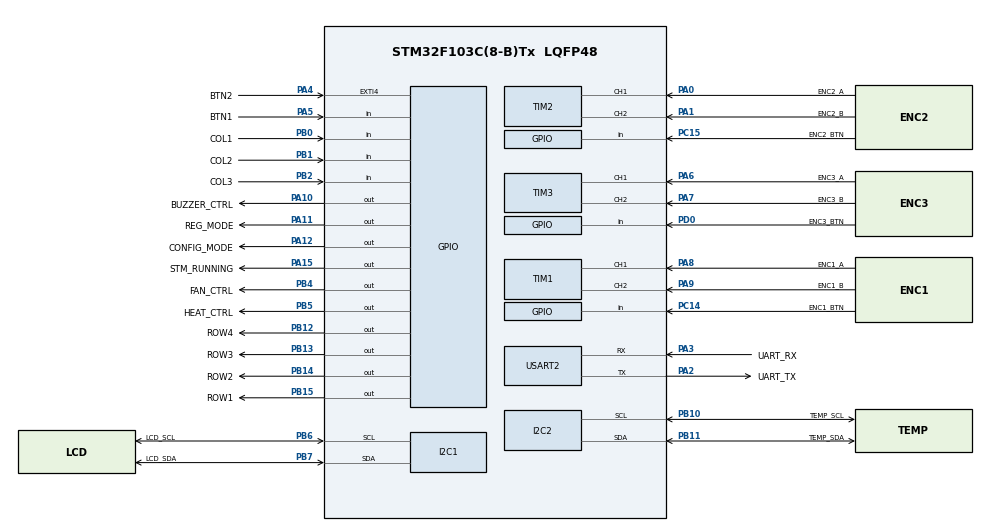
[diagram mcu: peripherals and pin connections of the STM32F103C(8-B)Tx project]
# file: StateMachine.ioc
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Mcu.Family=STM32F1
Mcu.Name=STM32F103C(8-B)Tx
Mcu.Package=LQFP48
NVIC.EXTI4_IRQn=true\:0\:0\:false\:false\:true\:true\:true\:true
NVIC.PriorityGroup=NVIC_PRIORITYGROUP_4
NVIC.USART2_IRQn=true\:0\:0\:false\:false\:true\:true\:true\:true
PA0-WKUP.GPIO_Label=ENC2_A
PA0-WKUP.Signal=S_TIM2_CH1_ETR
PA1.GPIO_Label=ENC2_B
PA1.Signal=S_TIM2_CH2
PA10.GPIO_Label=BUZZER_CTRL
PA10.GPIO_PuPd=GPIO_PULLDOWN
PA10.Signal=GPIO_Output
PA11.GPIO_Label=REG_MODE
PA11.GPIO_PuPd=GPIO_PULLDOWN
PA11.Signal=GPIO_Output
PA12.GPIO_Label=CONFIG_MODE
PA12.GPIO_PuPd=GPIO_PULLDOWN
PA12.Signal=GPIO_Output
PA13.GPIO_Label=SWDIO
PA13.Mode=Serial_Wire
PA13.Signal=SYS_JTMS-SWDIO
PA14.GPIO_Label=SWCLK
PA14.Mode=Serial_Wire
PA14.Signal=SYS_JTCK-SWCLK
PA15.GPIO_Label=STM_RUNNING
PA15.GPIO_PuPd=GPIO_PULLDOWN
PA15.Signal=GPIO_Output
PA2.GPIO_Label=UART_TX
PA2.Mode=Asynchronous
PA2.Signal=USART2_TX
PA3.GPIO_Label=UART_RX
PA3.Mode=Asynchronous
PA3.Signal=USART2_RX
PA4.GPIO_Label=BTN2
PA4.Signal=GPXTI4
PA5.GPIO_Label=BTN1
PA5.GPIO_PuPd=GPIO_PULLDOWN
PA5.Signal=GPIO_Input
PA6.GPIO_Label=ENC3_A
PA6.Signal=S_TIM3_CH1
PA7.GPIO_Label=ENC3_B
PA7.Signal=S_TIM3_CH2
PA8.GPIO_Label=ENC1_A
PA8.Signal=S_TIM1_CH1
PA9.GPIO_Label=ENC1_B
PA9.Signal=S_TIM1_CH2
PB0.GPIO_Label=COL1
PB0.GPIO_PuPd=GPIO_PULLUP
PB0.Signal=GPIO_Input
PB1.GPIO_Label=COL2
PB1.GPIO_PuPd=GPIO_PULLUP
PB1.Signal=GPIO_Input
PB10.GPIO_Label=TEMP_SCL
PB10.Mode=I2C
PB10.Signal=I2C2_SCL
PB11.GPIO_Label=TEMP_SDA
PB11.Mode=I2C
PB11.Signal=I2C2_SDA
PB12.GPIO_Label=ROW4
PB12.GPIO_PuPd=GPIO_PULLUP
PB12.Signal=GPIO_Output
PB13.GPIO_Label=ROW3
PB13.GPIO_PuPd=GPIO_PULLUP
PB13.Signal=GPIO_Output
PB14.GPIO_Label=ROW2
PB14.GPIO_PuPd=GPIO_PULLUP
PB14.Signal=GPIO_Output
PB15.GPIO_Label=ROW1
PB15.GPIO_PuPd=GPIO_PULLUP
PB15.Signal=GPIO_Output
PB2.GPIO_Label=COL3
PB2.GPIO_PuPd=GPIO_PULLUP
PB2.Signal=GPIO_Input
PB4.GPIO_Label=FAN_CTRL
PB4.GPIO_PuPd=GPIO_PULLDOWN
PB4.Signal=GPIO_Output
PB5.GPIO_Label=HEAT_CTRL
PB5.GPIO_PuPd=GPIO_PULLDOWN
PB5.Signal=GPIO_Output
PB6.GPIO_Label=LCD_SCL
PB6.Mode=I2C
PB6.Signal=I2C1_SCL
PB7.GPIO_Label=LCD_SDA
PB7.Mode=I2C
PB7.Signal=I2C1_SDA
PC14-OSC32_IN.GPIO_Label=ENC1_BTN
PC14-OSC32_IN.GPIO_PuPd=GPIO_PULLDOWN
PC14-OSC32_IN.Signal=GPIO_Input
PC15-OSC32_OUT.GPIO_Label=ENC2_BTN
PC15-OSC32_OUT.GPIO_PuPd=GPIO_PULLDOWN
PC15-OSC32_OUT.Signal=GPIO_Input
PD0-OSC_IN.GPIO_Label=ENC3_BTN
PD0-OSC_IN.GPIO_PuPd=GPIO_PULLDOWN
PD0-OSC_IN.Signal=GPIO_Input
ProjectManager.HeapSize=0x200
ProjectManager.StackSize=0x400
ProjectManager.TargetToolchain=STM32CubeIDE
RCC.APB1Freq_Value=8000000
RCC.APB2Freq_Value=8000000
SH.S_TIM1_CH1.0=TIM1_CH1,Encoder_Interface
SH.S_TIM1_CH2.0=TIM1_CH2,Encoder_Interface
SH.S_TIM2_CH1_ETR.0=TIM2_CH1,Encoder_Interface
SH.S_TIM2_CH2.0=TIM2_CH2,Encoder_Interface
SH.S_TIM3_CH1.0=TIM3_CH1,Encoder_Interface
SH.S_TIM3_CH2.0=TIM3_CH2,Encoder_Interface
TIM1.EncoderMode=TIM_ENCODERMODE_TI12
TIM1.IC1Filter=15
TIM1.IC2Filter=15
TIM2.EncoderMode=TIM_ENCODERMODE_TI12
TIM2.IC1Filter=15
TIM2.IC2Filter=15
TIM3.EncoderMode=TIM_ENCODERMODE_TI12
TIM3.IC1Filter=15
TIM3.IC2Filter=15
USART2.VirtualMode=VM_ASYNC
board=custom

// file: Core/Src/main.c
/* USER CODE BEGIN Header */
/**
  ******************************************************************************
  * @file           : main.c
  * @brief          : Main program body
  ******************************************************************************
  * @attention
  *
  * Copyright (c) 2025 STMicroelectronics.
  * All rights reserved.
  *
  * This software is licensed under terms that can be found in the LICENSE file
  * in the root directory of this software component.
  * If no LICENSE file comes with this software, it is provided AS-IS.
  *
  ******************************************************************************
  */
/* USER CODE END Header */
#include "main.h"

/* USER CODE BEGIN Includes */
#include "lcd1602.h"
#include "keyboard.h"
#include "tempsensor.h"
#include "logic.h"
/* USER CODE END Includes */

I2C_HandleTypeDef hi2c1;
I2C_HandleTypeDef hi2c2;

TIM_HandleTypeDef htim1;
TIM_HandleTypeDef htim2;
TIM_HandleTypeDef htim3;

UART_HandleTypeDef huart2;

void SystemClock_Config(void);
static void MX_GPIO_Init(void);
static void MX_I2C1_Init(void);
static void MX_TIM1_Init(void);
static void MX_TIM2_Init(void);
static void MX_TIM3_Init(void);
static void MX_I2C2_Init(void);
static void MX_USART2_UART_Init(void);

/* USER CODE BEGIN 0 */
void HAL_GPIO_EXTI_Callback(uint16_t GPIO_Pin)
{
    if (GPIO_Pin == BTN2_Pin)
    {
        NVIC_SystemReset(); // Reset the system
    }
}
/* USER CODE END 0 */

int main(void)
{

  /* MCU Configuration--------------------------------------------------------*/

  /* Reset of all peripherals, Initializes the Flash interface and the Systick. */
  HAL_Init();

  /* Configure the system clock */
  SystemClock_Config();

  /* Initialize all configured peripherals */
  MX_GPIO_Init();
  MX_I2C1_Init();
  MX_TIM1_Init();
  MX_TIM2_Init();
  MX_TIM3_Init();
  MX_I2C2_Init();
  MX_USART2_UART_Init();
  /* USER CODE BEGIN 2 */
  //initialization of the peripherials and its necessaries
  LCD_Init(&hi2c1);
  HAL_TIM_Encoder_Start(&htim1, TIM_CHANNEL_ALL);
  HAL_TIM_Encoder_Start(&htim2, TIM_CHANNEL_ALL);
  HAL_TIM_Encoder_Start(&htim3, TIM_CHANNEL_ALL);
  TempSensor_Init(&hi2c2);

  //turn on the LED that shows that STM is working
  HAL_GPIO_WritePin(STM_RUNNING_GPIO_Port, STM_RUNNING_Pin, 1);

  /* USER CODE END 2 */

  /* Infinite loop */
  /* USER CODE BEGIN WHILE */
  while (1)
  {
	  state_machine_run();
    /* USER CODE END WHILE */

  }
}

void SystemClock_Config(void)
{
  RCC_OscInitTypeDef RCC_OscInitStruct = {0};
  RCC_ClkInitTypeDef RCC_ClkInitStruct = {0};

  /** Initializes the RCC Oscillators according to the specified parameters
  * in the RCC_OscInitTypeDef structure.
  */
  RCC_OscInitStruct.OscillatorType = RCC_OSCILLATORTYPE_HSI;
  RCC_OscInitStruct.HSIState = RCC_HSI_ON;
  RCC_OscInitStruct.HSICalibrationValue = RCC_HSICALIBRATION_DEFAULT;
  RCC_OscInitStruct.PLL.PLLState = RCC_PLL_NONE;
  if (HAL_RCC_OscConfig(&RCC_OscInitStruct) != HAL_OK)
  {
    Error_Handler();
  }

  /** Initializes the CPU, AHB and APB buses clocks
  */
  RCC_ClkInitStruct.ClockType = RCC_CLOCKTYPE_HCLK|RCC_CLOCKTYPE_SYSCLK
                              |RCC_CLOCKTYPE_PCLK1|RCC_CLOCKTYPE_PCLK2;
  RCC_ClkInitStruct.SYSCLKSource = RCC_SYSCLKSOURCE_HSI;
  RCC_ClkInitStruct.AHBCLKDivider = RCC_SYSCLK_DIV1;
  RCC_ClkInitStruct.APB1CLKDivider = RCC_HCLK_DIV1;
  RCC_ClkInitStruct.APB2CLKDivider = RCC_HCLK_DIV1;

  if (HAL_RCC_ClockConfig(&RCC_ClkInitStruct, FLASH_LATENCY_0) != HAL_OK)
  {
    Error_Handler();
  }
}

static void MX_I2C1_Init(void)
{

  hi2c1.Instance = I2C1;
  hi2c1.Init.ClockSpeed = 100000;
  hi2c1.Init.DutyCycle = I2C_DUTYCYCLE_2;
  hi2c1.Init.OwnAddress1 = 0;
  hi2c1.Init.AddressingMode = I2C_ADDRESSINGMODE_7BIT;
  hi2c1.Init.DualAddressMode = I2C_DUALADDRESS_DISABLE;
  hi2c1.Init.OwnAddress2 = 0;
  hi2c1.Init.GeneralCallMode = I2C_GENERALCALL_DISABLE;
  hi2c1.Init.NoStretchMode = I2C_NOSTRETCH_DISABLE;
  if (HAL_I2C_Init(&hi2c1) != HAL_OK)
  {
    Error_Handler();
  }

}

static void MX_I2C2_Init(void)
{

  hi2c2.Instance = I2C2;
  hi2c2.Init.ClockSpeed = 100000;
  hi2c2.Init.DutyCycle = I2C_DUTYCYCLE_2;
  hi2c2.Init.OwnAddress1 = 0;
  hi2c2.Init.AddressingMode = I2C_ADDRESSINGMODE_7BIT;
  hi2c2.Init.DualAddressMode = I2C_DUALADDRESS_DISABLE;
  hi2c2.Init.OwnAddress2 = 0;
  hi2c2.Init.GeneralCallMode = I2C_GENERALCALL_DISABLE;
  hi2c2.Init.NoStretchMode = I2C_NOSTRETCH_DISABLE;
  if (HAL_I2C_Init(&hi2c2) != HAL_OK)
  {
    Error_Handler();
  }

}

static void MX_TIM1_Init(void)
{

  TIM_Encoder_InitTypeDef sConfig = {0};
  TIM_MasterConfigTypeDef sMasterConfig = {0};

  htim1.Instance = TIM1;
  htim1.Init.Prescaler = 0;
  htim1.Init.CounterMode = TIM_COUNTERMODE_UP;
  htim1.Init.Period = 65535;
  htim1.Init.ClockDivision = TIM_CLOCKDIVISION_DIV1;
  htim1.Init.RepetitionCounter = 0;
  htim1.Init.AutoReloadPreload = TIM_AUTORELOAD_PRELOAD_DISABLE;
  sConfig.EncoderMode = TIM_ENCODERMODE_TI12;
  sConfig.IC1Polarity = TIM_ICPOLARITY_RISING;
  sConfig.IC1Selection = TIM_ICSELECTION_DIRECTTI;
  sConfig.IC1Prescaler = TIM_ICPSC_DIV1;
  sConfig.IC1Filter = 15;
  sConfig.IC2Polarity = TIM_ICPOLARITY_RISING;
  sConfig.IC2Selection = TIM_ICSELECTION_DIRECTTI;
  sConfig.IC2Prescaler = TIM_ICPSC_DIV1;
  sConfig.IC2Filter = 15;
  if (HAL_TIM_Encoder_Init(&htim1, &sConfig) != HAL_OK)
  {
    Error_Handler();
  }
  sMasterConfig.MasterOutputTrigger = TIM_TRGO_RESET;
  sMasterConfig.MasterSlaveMode = TIM_MASTERSLAVEMODE_DISABLE;
  if (HAL_TIMEx_MasterConfigSynchronization(&htim1, &sMasterConfig) != HAL_OK)
  {
    Error_Handler();
  }

}

static void MX_TIM2_Init(void)
{

  TIM_Encoder_InitTypeDef sConfig = {0};
  TIM_MasterConfigTypeDef sMasterConfig = {0};

  htim2.Instance = TIM2;
  htim2.Init.Prescaler = 0;
  htim2.Init.CounterMode = TIM_COUNTERMODE_UP;
  htim2.Init.Period = 65535;
  htim2.Init.ClockDivision = TIM_CLOCKDIVISION_DIV1;
  htim2.Init.AutoReloadPreload = TIM_AUTORELOAD_PRELOAD_DISABLE;
  sConfig.EncoderMode = TIM_ENCODERMODE_TI12;
  sConfig.IC1Polarity = TIM_ICPOLARITY_RISING;
  sConfig.IC1Selection = TIM_ICSELECTION_DIRECTTI;
  sConfig.IC1Prescaler = TIM_ICPSC_DIV1;
  sConfig.IC1Filter = 15;
  sConfig.IC2Polarity = TIM_ICPOLARITY_RISING;
  sConfig.IC2Selection = TIM_ICSELECTION_DIRECTTI;
  sConfig.IC2Prescaler = TIM_ICPSC_DIV1;
  sConfig.IC2Filter = 15;
  if (HAL_TIM_Encoder_Init(&htim2, &sConfig) != HAL_OK)
  {
    Error_Handler();
  }
  sMasterConfig.MasterOutputTrigger = TIM_TRGO_RESET;
  sMasterConfig.MasterSlaveMode = TIM_MASTERSLAVEMODE_DISABLE;
  if (HAL_TIMEx_MasterConfigSynchronization(&htim2, &sMasterConfig) != HAL_OK)
  {
    Error_Handler();
  }

}

static void MX_TIM3_Init(void)
{

  TIM_Encoder_InitTypeDef sConfig = {0};
  TIM_MasterConfigTypeDef sMasterConfig = {0};

  htim3.Instance = TIM3;
  htim3.Init.Prescaler = 0;
  htim3.Init.CounterMode = TIM_COUNTERMODE_UP;
  htim3.Init.Period = 65535;
  htim3.Init.ClockDivision = TIM_CLOCKDIVISION_DIV1;
  htim3.Init.AutoReloadPreload = TIM_AUTORELOAD_PRELOAD_DISABLE;
  sConfig.EncoderMode = TIM_ENCODERMODE_TI12;
  sConfig.IC1Polarity = TIM_ICPOLARITY_RISING;
  sConfig.IC1Selection = TIM_ICSELECTION_DIRECTTI;
  sConfig.IC1Prescaler = TIM_ICPSC_DIV1;
  sConfig.IC1Filter = 15;
  sConfig.IC2Polarity = TIM_ICPOLARITY_RISING;
  sConfig.IC2Selection = TIM_ICSELECTION_DIRECTTI;
  sConfig.IC2Prescaler = TIM_ICPSC_DIV1;
  sConfig.IC2Filter = 15;
  if (HAL_TIM_Encoder_Init(&htim3, &sConfig) != HAL_OK)
  {
    Error_Handler();
  }
  sMasterConfig.MasterOutputTrigger = TIM_TRGO_RESET;
  sMasterConfig.MasterSlaveMode = TIM_MASTERSLAVEMODE_DISABLE;
  if (HAL_TIMEx_MasterConfigSynchronization(&htim3, &sMasterConfig) != HAL_OK)
  {
    Error_Handler();
  }

}

static void MX_USART2_UART_Init(void)
{

  huart2.Instance = USART2;
  huart2.Init.BaudRate = 115200;
  huart2.Init.WordLength = UART_WORDLENGTH_8B;
  huart2.Init.StopBits = UART_STOPBITS_1;
  huart2.Init.Parity = UART_PARITY_NONE;
  huart2.Init.Mode = UART_MODE_TX_RX;
  huart2.Init.HwFlowCtl = UART_HWCONTROL_NONE;
  huart2.Init.OverSampling = UART_OVERSAMPLING_16;
  if (HAL_UART_Init(&huart2) != HAL_OK)
  {
    Error_Handler();
  }

}

static void MX_GPIO_Init(void)
{
  GPIO_InitTypeDef GPIO_InitStruct = {0};

  /* GPIO Ports Clock Enable */
  __HAL_RCC_GPIOC_CLK_ENABLE();
  __HAL_RCC_GPIOD_CLK_ENABLE();
  __HAL_RCC_GPIOA_CLK_ENABLE();
  __HAL_RCC_GPIOB_CLK_ENABLE();

  /*Configure GPIO pin Output Level */
  HAL_GPIO_WritePin(GPIOB, ROW4_Pin|ROW3_Pin|ROW2_Pin|ROW1_Pin
                          |FAN_CTRL_Pin|HEAT_CTRL_Pin, GPIO_PIN_RESET);

  /*Configure GPIO pin Output Level */
  HAL_GPIO_WritePin(GPIOA, BUZZER_CTRL_Pin|REG_MODE_Pin|CONFIG_MODE_Pin|STM_RUNNING_Pin, GPIO_PIN_RESET);

  /*Configure GPIO pins : ENC1_BTN_Pin ENC2_BTN_Pin */
  GPIO_InitStruct.Pin = ENC1_BTN_Pin|ENC2_BTN_Pin;
  GPIO_InitStruct.Mode = GPIO_MODE_INPUT;
  GPIO_InitStruct.Pull = GPIO_PULLDOWN;
  HAL_GPIO_Init(GPIOC, &GPIO_InitStruct);

  /*Configure GPIO pin : ENC3_BTN_Pin */
  GPIO_InitStruct.Pin = ENC3_BTN_Pin;
  GPIO_InitStruct.Mode = GPIO_MODE_INPUT;
  GPIO_InitStruct.Pull = GPIO_PULLDOWN;
  HAL_GPIO_Init(ENC3_BTN_GPIO_Port, &GPIO_InitStruct);

  /*Configure GPIO pin : BTN2_Pin */
  GPIO_InitStruct.Pin = BTN2_Pin;
  GPIO_InitStruct.Mode = GPIO_MODE_IT_RISING;
  GPIO_InitStruct.Pull = GPIO_NOPULL;
  HAL_GPIO_Init(BTN2_GPIO_Port, &GPIO_InitStruct);

  /*Configure GPIO pin : BTN1_Pin */
  GPIO_InitStruct.Pin = BTN1_Pin;
  GPIO_InitStruct.Mode = GPIO_MODE_INPUT;
  GPIO_InitStruct.Pull = GPIO_PULLDOWN;
  HAL_GPIO_Init(BTN1_GPIO_Port, &GPIO_InitStruct);

  /*Configure GPIO pins : COL1_Pin COL2_Pin COL3_Pin */
  GPIO_InitStruct.Pin = COL1_Pin|COL2_Pin|COL3_Pin;
  GPIO_InitStruct.Mode = GPIO_MODE_INPUT;
  GPIO_InitStruct.Pull = GPIO_PULLUP;
  HAL_GPIO_Init(GPIOB, &GPIO_InitStruct);

  /*Configure GPIO pins : ROW4_Pin ROW3_Pin ROW2_Pin ROW1_Pin */
  GPIO_InitStruct.Pin = ROW4_Pin|ROW3_Pin|ROW2_Pin|ROW1_Pin;
  GPIO_InitStruct.Mode = GPIO_MODE_OUTPUT_PP;
  GPIO_InitStruct.Pull = GPIO_PULLUP;
  GPIO_InitStruct.Speed = GPIO_SPEED_FREQ_LOW;
  HAL_GPIO_Init(GPIOB, &GPIO_InitStruct);

  /*Configure GPIO pins : BUZZER_CTRL_Pin REG_MODE_Pin CONFIG_MODE_Pin STM_RUNNING_Pin */
  GPIO_InitStruct.Pin = BUZZER_CTRL_Pin|REG_MODE_Pin|CONFIG_MODE_Pin|STM_RUNNING_Pin;
  GPIO_InitStruct.Mode = GPIO_MODE_OUTPUT_PP;
  GPIO_InitStruct.Pull = GPIO_PULLDOWN;
  GPIO_InitStruct.Speed = GPIO_SPEED_FREQ_LOW;
  HAL_GPIO_Init(GPIOA, &GPIO_InitStruct);

  /*Configure GPIO pins : FAN_CTRL_Pin HEAT_CTRL_Pin */
  GPIO_InitStruct.Pin = FAN_CTRL_Pin|HEAT_CTRL_Pin;
  GPIO_InitStruct.Mode = GPIO_MODE_OUTPUT_PP;
  GPIO_InitStruct.Pull = GPIO_PULLDOWN;
  GPIO_InitStruct.Speed = GPIO_SPEED_FREQ_LOW;
  HAL_GPIO_Init(GPIOB, &GPIO_InitStruct);

  /*Configure peripheral I/O remapping */
  __HAL_AFIO_REMAP_PD01_ENABLE();

  /* EXTI interrupt init*/
  HAL_NVIC_SetPriority(EXTI4_IRQn, 0, 0);
  HAL_NVIC_EnableIRQ(EXTI4_IRQn);

}

void Error_Handler(void)
{
  /* USER CODE BEGIN Error_Handler_Debug */
  /* User can add his own implementation to report the HAL error return state */
  __disable_irq();
  HAL_GPIO_WritePin(STM_RUNNING_GPIO_Port, STM_RUNNING_Pin, 0);
  while (1)
  {
  }
  /* USER CODE END Error_Handler_Debug */
}
